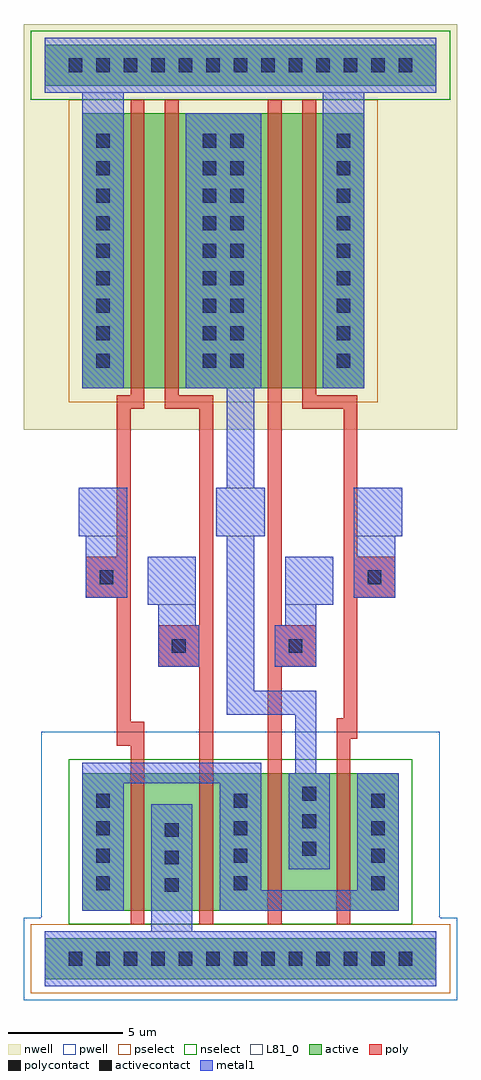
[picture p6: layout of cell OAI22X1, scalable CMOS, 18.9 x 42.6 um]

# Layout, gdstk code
import gdstk
lib = gdstk.Library(unit=1e-6, precision=1e-09)
def R(c, l, rs):  # rectangles x0, y0, x1, y1
    for r in rs: c.add(gdstk.rectangle(r[:2], r[2:], *l))
def A(c, l, x, y, w, h, nx, ny, dx, dy):  # array of equal rectangles
    R(c, l, [(x+i*dx, y+j*dy, x+i*dx+w, y+j*dy+h) for i in range(nx) for j in range(ny)])
pwell = (41, 0)
nwell = (42, 0)
active = (43, 0)
pselect = (44, 0)
nselect = (45, 0)
poly = (46, 0)
polycontact = (47, 0)
activecontact = (48, 0)
metal1 = (49, 0)
L81_0 = (81, 0)

oai22x1 = lib.new_cell('OAI22X1')
R(oai22x1, pwell, [(-1.95,-1.8,16.95,1.8), (-1.2,1.8,16.2,9.9)])
R(oai22x1, nwell, [(-1.95,23.1,16.95,40.8)])
R(oai22x1, active, [(-1.05,-0.9,16.05,0.9), (0.6,2.1,14.4,8.1), (0.6,24.9,12.9,36.9), (-1.05,38.1,16.05,39.9)])
R(oai22x1, pselect, [(-1.65,-1.5,16.65,1.5), (0,24.3,13.5,37.5)])
R(oai22x1, nselect, [(0,1.5,15,8.7), (-1.65,37.5,16.65,40.5)])
R(oai22x1, poly, [(2.7,1.5,3.3,9.3), (5.7,1.5,6.3,12.75), (8.7,1.5,9.3,12.75), (11.7,1.5,12.3,9.6), (2.1,9.3,3.3,10.35), (11.7,9.6,12.6,10.5), (2.1,10.35,2.7,15.75), (12,10.5,12.6,15.75), (3.9,12.75,6.3,14.55), (8.7,12.75,10.8,14.55), (5.7,14.55,6.3,24), (8.7,14.55,9.3,37.5), (0.75,15.75,2.7,17.55), (12,15.75,14.25,17.55), (2.1,17.55,2.7,24), (12,17.55,12.6,24), (2.1,24,3.3,24.6), (4.2,24,6.3,24.6), (10.2,24,12.6,24.6), (2.7,24.6,3.3,37.5), (4.2,24.6,4.8,37.5), (10.2,24.6,10.8,37.5)])
R(oai22x1, polycontact, [(4.5,13.35,5.1,13.95), (9.6,13.35,10.2,13.95), (1.35,16.35,1.95,16.95), (13.05,16.35,13.65,16.95)])
A(oai22x1, activecontact, 0, -0.3, 0.6, 0.6, 13, 2, 1.2, 39)
A(oai22x1, activecontact, 4.2, 2.92, 0.6, 0.6, 1, 3, 0, 1.2)
A(oai22x1, activecontact, 1.2, 3, 0.6, 0.6, 3, 4, 6, 1.2)
A(oai22x1, activecontact, 10.2, 4.5, 0.6, 0.6, 1, 3, 0, 1.2)
A(oai22x1, activecontact, 1.2, 25.8, 0.6, 0.6, 1, 9, 0, 1.2)
A(oai22x1, activecontact, 5.85, 25.8, 0.6, 0.6, 1, 9, 0, 1.2)
A(oai22x1, activecontact, 7.05, 25.8, 0.6, 0.6, 1, 9, 0, 1.2)
A(oai22x1, activecontact, 11.7, 25.8, 0.6, 0.6, 1, 9, 0, 1.2)
A(oai22x1, metal1, 0.45, 18.45, 2.1, 2.1, 3, 1, 6, 0)
R(oai22x1, metal1, [(-1.05,-1.2,16.05,1.2), (3.6,1.2,5.4,6.75), (0.6,2.1,2.4,7.65), (6.6,2.1,14.4,3), (6.6,3,8.4,7.65), (12.6,3,14.4,8.1), (9.6,3.9,11.4,8.1), (0.6,7.65,8.4,8.55), (9.9,8.1,10.8,10.65), (6.9,10.65,10.8,11.7), (6.9,11.7,8.1,18.45), (3.9,12.75,5.7,14.55), (9,12.75,10.8,14.55), (3.9,14.55,5.55,15.45), (9.45,14.55,10.8,15.45), (3.45,15.45,5.55,17.55), (9.45,15.45,11.55,17.55), (0.75,15.75,2.55,18.45), (12.45,15.75,14.25,18.45), (6.9,20.55,8.1,24.9), (0.6,24.9,2.4,37.8), (5.1,24.9,8.4,36.9), (11.1,24.9,12.9,37.8), (-1.05,37.8,16.05,40.2)])
A(oai22x1, L81_0, 0.45, 18.45, 2.1, 2.1, 3, 1, 6, 0)
R(oai22x1, L81_0, [(-1.05,-1.2,16.05,1.2), (3.45,15.45,5.55,17.55), (9.45,15.45,11.55,17.55), (-1.05,37.8,16.05,40.2)])

lib.write_gds('OAI22X1.gds')
